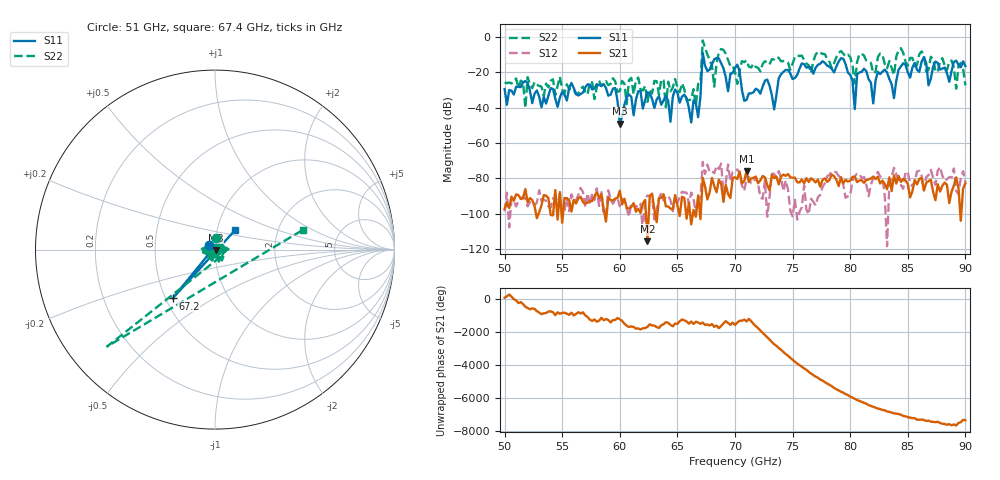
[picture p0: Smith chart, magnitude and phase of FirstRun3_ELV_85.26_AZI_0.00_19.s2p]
! 11/24/2026 3:35:47 PM
! C:\ANRITSUVNA\TEMP\TEMP.S2P
! CHANNEL.1
! TR.MEASUREMENT
! RAW.DATA
# HZ S RI R 50.0
! FREQ.HZ  S11RE  S11IM  S21RE  S21IM  S12RE  S12IM  S22RE  S22IM
!; PortSelection: Port_12
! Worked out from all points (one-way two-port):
!   201 points, 50 GHz to 90 GHz, reference 50 ohm
!   highest |S21| = -75.81 dB at 71 GHz (marker M1); lowest = -115.6 dB at 62.4 GHz (marker M2)
!   lowest |S11| = -48.9 dB at 60 GHz (marker M3), VSWR 1.01, Z = 50.3 - j0.154 ohm
!   |S11| at or under -10 dB: start of sweep to 67.19 GHz; 67.23 GHz to end of sweep
!   |S22| runs from -40.0 to -1.9 dB; largest |S21 - S12| = 0.0003
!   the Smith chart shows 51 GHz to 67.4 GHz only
!   S11 on the Smith chart (normalised r, x): 51 GHz: 0.94, +0.05; 67.2 GHz: 0.54, -0.34; 67.4 GHz: 1.22, +0.27
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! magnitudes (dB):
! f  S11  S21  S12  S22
! 50 GHz  -29.4  -97.2  -98.7  -25.6
! 51 GHz  -28.1  -89.0  -95.9  -23.4
! 51.8 GHz  -24.8  -86.1  -91.6  -40.0
! 52 GHz  -26.0  -93.6  -95.9  -22.7
! 56.8 GHz  -31.4  -93.4  -87.8  -28.0
! 59.6 GHz  -28.8  -91.4  -91.9  -25.0
! 60 GHz  -48.9  -87.0  -95.8  -30.5
! 62.4 GHz  -31.1  -115.6  -89.7  -36.7
! 63.4 GHz  -33.4  -91.1  -91.4  -32.6
! 66.8 GHz  -45.3  -89.6  -92.0  -26.5
! 67.2 GHz  -8.9  -79.7  -70.6  -1.9
! 67.4 GHz  -16.1  -84.6  -77.5  -5.9
! 68.2 GHz  -12.5  -84.3  -77.1  -28.0
! 68.8 GHz  -14.8  -83.1  -71.6  -6.7
! 70 GHz  -17.4  -79.4  -76.3  -19.9
! 71 GHz  -35.5  -75.8  -80.2  -13.1
! 76.8 GHz  -20.7  -80.9  -93.3  -13.6
! 79.4 GHz  -12.2  -82.7  -83.8  -9.4
! 80.4 GHz  -40.7  -79.0  -78.7  -26.2
! 80.6 GHz  -21.1  -82.1  -77.4  -14.0
! 83.4 GHz  -23.7  -79.4  -83.1  -13.5
! 90 GHz  -16.3  -82.8  -82.1  -27.3
